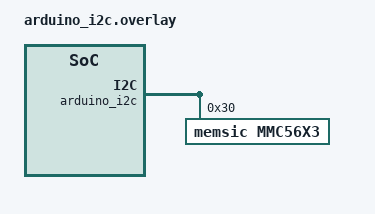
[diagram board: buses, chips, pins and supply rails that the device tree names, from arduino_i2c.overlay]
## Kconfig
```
# Copyright (c) 2024 Intel Corporation
# SPDX-License-Identifier: Apache-2.0

config LOG
	default y

config LOG_PRINTK
	default y

config SENSOR_LOG_LEVEL
	default 4

config I2C
	default y

source "Kconfig.zephyr"
```

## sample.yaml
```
sample:
  name: MMC56X3 Sensor sample
tests:
  sample.sensor.mmc56x3:
    harness: console
    tags: sensors
    platform_allow:
      - frdm_k64f
    integration_platforms:
      - frdm_k64f
    extra_args: "DTC_OVERLAY_FILE=arduino_i2c.overlay"
    harness_config:
      type: multi_line
      ordered: false
      regex:
        - "mmc56x3(.*): (.*) C"
        - "mmc56x3(.*): MX=(.*) MY=(.*) MZ=(.*)"
  sample.sensor.mmc56x3.old_api:
    harness: console
    tags: sensors
    platform_allow:
      - frdm_k64f
    integration_platforms:
      - frdm_k64f
    extra_configs:
      - CONFIG_SENSOR_ASYNC_API=n
    extra_args: "DTC_OVERLAY_FILE=arduino_i2c.overlay"
    harness_config:
      type: multi_line
      ordered: false
      regex:
        - "mmc56x3(.*): (.*) C"
        - "mmc56x3(.*): MX=(.*) MY=(.*) MZ=(.*)"
```

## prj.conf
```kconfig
CONFIG_CBPRINTF_FP_SUPPORT=y
CONFIG_SENSOR=y
CONFIG_SENSOR_ASYNC_API=y
```

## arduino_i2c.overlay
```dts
/*
 * Copyright (c) 2024 Intel
 *
 * SPDX-License-Identifier: Apache-2.0
 */


/*
 * Example configuration of a MMC56X3 device on an Arduino I2C bus.
 *
 * Device address 0x30 is assumed. Your device may have a different
 * address; check your device documentation if unsure.
 */
&arduino_i2c {
	status = "okay";
	mmc56x3: mmc56x3@30 {
		compatible = "memsic,mmc56x3";
		reg = <0x30>;
		magn-odr = <0>;
		auto-self-reset;
	};
};
```

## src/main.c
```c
/*
 * Copyright (c) 2024 Intel Corporation
 *
 * SPDX-License-Identifier: Apache-2.0
 */

#include <zephyr/kernel.h>
#include <zephyr/device.h>
#include <zephyr/devicetree.h>
#include <zephyr/drivers/sensor.h>
#include <zephyr/drivers/sensor_data_types.h>
#include <zephyr/rtio/rtio.h>
#include <zephyr/dsp/print_format.h>

const struct device *const dev = DEVICE_DT_GET_ANY(memsic_mmc56x3);

#ifdef CONFIG_SENSOR_ASYNC_API
SENSOR_DT_READ_IODEV(iodev, DT_COMPAT_GET_ANY_STATUS_OKAY(memsic_mmc56x3),
		     {SENSOR_CHAN_AMBIENT_TEMP, 0}, {SENSOR_CHAN_MAGN_XYZ, 0});
RTIO_DEFINE(ctx, 1, 1);
#endif

static const struct device *check_mmc56x3_device(void)
{
	if (dev == NULL) {
		printk("Error: Device not found.\n");
		return NULL;
	}
	if (!device_is_ready(dev)) {
		printk("Error: Device %s is not ready.\n", dev->name);
		return NULL;
	}

	printk("Found device \"%s\", getting sensor data\n", dev->name);
	return dev;
}

int main(void)
{
	const struct device *dev = check_mmc56x3_device();

	if (dev == NULL) {
		return 0;
	}

	int rc;

	while (1) {
#ifdef CONFIG_SENSOR_ASYNC_API
		uint8_t buf[64];

		rc = sensor_read(&iodev, &ctx, buf, 64);

		if (rc != 0) {
			printk("%s: sensor_read() error: %d\n", dev->name, rc);
			return rc;
		}

		const struct sensor_decoder_api *decoder;

		rc = sensor_get_decoder(dev, &decoder);

		if (rc != 0) {
			printk("%s: sensor_get_decoder() error: %d\n", dev->name, rc);
			return rc;
		}

		uint32_t temp_fit = 0;
		struct sensor_q31_data temp_data = {0};

		decoder->decode(buf, (struct sensor_chan_spec){SENSOR_CHAN_AMBIENT_TEMP, 0},
				&temp_fit, 1, &temp_data);

		printk("%s: %s%d.%d C\n", dev->name,
		       PRIq_arg(temp_data.readings[0].temperature, 6, temp_data.shift));

		uint32_t magn_fit = 0;
		struct sensor_three_axis_data magn_data = {0};

		decoder->decode(buf, (struct sensor_chan_spec){SENSOR_CHAN_MAGN_XYZ, 0}, &magn_fit,
				1, &magn_data);

		printk("%s: MX=%s%d.%d MY=%s%d.%d MZ=%s%d.%d\n", dev->name,
		       PRIq_arg(magn_data.readings[0].x, 6, magn_data.shift),
		       PRIq_arg(magn_data.readings[0].y, 6, magn_data.shift),
		       PRIq_arg(magn_data.readings[0].z, 6, magn_data.shift));
#else
		struct sensor_value temp;

		rc = sensor_sample_fetch(dev);
		if (rc != 0) {
			printk("sensor_sample_fetch() error: %d\n", rc);
			break;
		}

		rc = sensor_channel_get(dev, SENSOR_CHAN_AMBIENT_TEMP, &temp);
		if (rc != 0) {
			printk("sensor_channel_get() error: %d\n", rc);
			break;
		}

		printk("%s: %g C\n", dev->name, sensor_value_to_double(&temp));

		struct sensor_value magn[3];

		rc = sensor_channel_get(dev, SENSOR_CHAN_MAGN_XYZ, magn);
		if (rc != 0) {
			printk("sensor_channel_get error: %d\n", rc);
			break;
		}

		printk("%s: MX=%g MY=%g MZ=%g\n", dev->name, sensor_value_to_double(&magn[0]),
		       sensor_value_to_double(&magn[1]), sensor_value_to_double(&magn[2]));
#endif
		k_sleep(K_MSEC(1000));
	}

	return 0;
}
```
